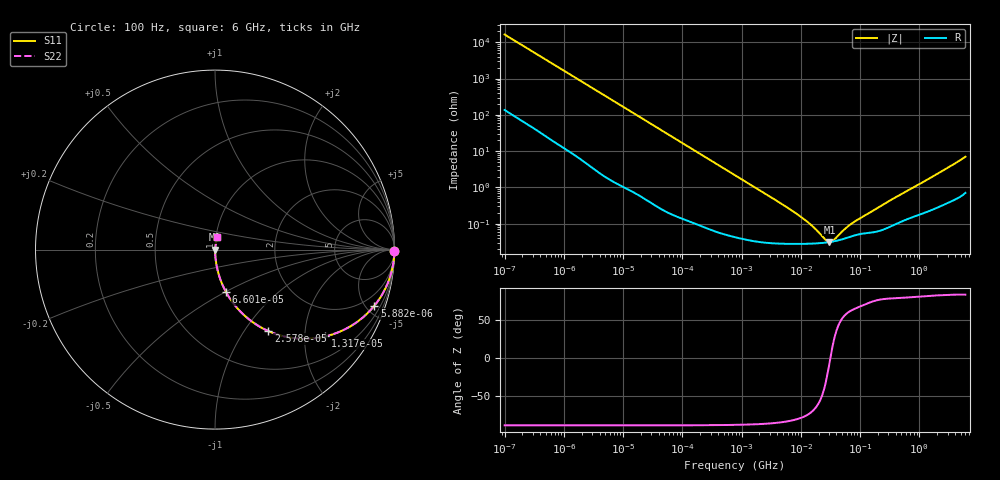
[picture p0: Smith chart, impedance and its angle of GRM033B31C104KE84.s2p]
!Murata Part Number: GRM033B31C104KE84
!These Parameters are Measured in Series Mode Connection
!Data Generated on Mar 30, 2021
!  o--ll--o
!Port1  Port2
!  o------o
!Operation Temp=25[degC], DC Bias Voltage=0[V]
!Freq. Start=100[Hz] Stop=6[GHz] 401[Steps]
# Hz S RI R 50
!Freq.(Hz) S11(Real) S11(Imag) S21(Real) S21(Imag) S12(Real) S12(Imag) S22(Real) S22(Imag)
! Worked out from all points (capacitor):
!   401 points, 100 Hz to 6 GHz, reference 50 ohm
!   read as one part in series: C = 97.3 nF near 109 Hz
!   lowest |Z| = 31.6 mohm at 30.45 MHz (marker M1)
!   series resonance near 31.56 MHz, so ESL is about 260 pH
!   S11 on the Smith chart (normalised r, x): 100 Hz: open; 5.882 kHz: 1.03, -5.65; 13.17 kHz: 1.02, -2.53; 25.78 kHz: 1.01, -1.30; 66 kHz: 1.00, -0.51; 6 GHz: 1.01, +0.14
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100  0.9999 -0.00613  8.87e-05 0.00613  8.87e-05 0.00613  0.9999 -0.00613
627  0.9983 -0.038  0.00173 0.038  0.00173 0.038  0.9983 -0.038
2008  0.9847 -0.1193  0.0153 0.1193  0.0153 0.1193  0.9847 -0.1193
3759  0.9501 -0.2148  0.0499 0.2148  0.0499 0.2148  0.9501 -0.2148
5882  0.8874 -0.3133  0.1126 0.3133  0.1126 0.3133  0.8874 -0.3133
8801  0.7802 -0.4111  0.2198 0.4111  0.2198 0.4111  0.7802 -0.4111
13169  0.6152 -0.4833  0.3848 0.4833  0.3848 0.4833  0.6152 -0.4833
18016  0.4624 -0.4952  0.5376 0.4952  0.5376 0.4952  0.4624 -0.4952
25777  0.2975 -0.4538  0.7025 0.4538  0.7025 0.4538  0.2975 -0.4538
40335  0.1488 -0.3526  0.8512 0.3526  0.8512 0.3526  0.1488 -0.3526
66005  0.0622 -0.238  0.9378 0.238  0.9378 0.238  0.0622 -0.238
184852  0.00915 -0.0902  0.9908 0.0902  0.9908 0.0902  0.00915 -0.0902
774597  0.000906 -0.0219  0.9991 0.0219  0.9991 0.0219  0.000906 -0.0219
6353432  0.000286 -0.00258  0.9997 0.00258  0.9997 0.00258  0.000286 -0.00258
1.555665e7  0.000285 -0.000827  0.9997 0.000827  0.9997 0.000827  0.000285 -0.000827
2.545746e7  0.000302 -0.000231  0.9997 0.000231  0.9997 0.000231  0.000302 -0.000231
3.045065e7  0.000313 -3.79e-05  0.9997 3.79e-05  0.9997 3.79e-05  0.000313 -3.79e-05
3.64232e7  0.00033 0.000152  0.9997 -0.000152  0.9997 -0.000152  0.00033 0.000152
5.449875e7  0.00039 0.000585  0.9996 -0.000585  0.9996 -0.000585  0.00039 0.000585
7.455971e7  0.00046 0.000944  0.9995 -0.000944  0.9995 -0.000944  0.00046 0.000944
3.124326e8  0.000828 0.0042  0.9992 -0.0042  0.9992 -0.0042  0.000828 0.0042
6e9  0.0118 0.0687  0.9882 -0.0687  0.9882 -0.0687  0.0118 0.0687
